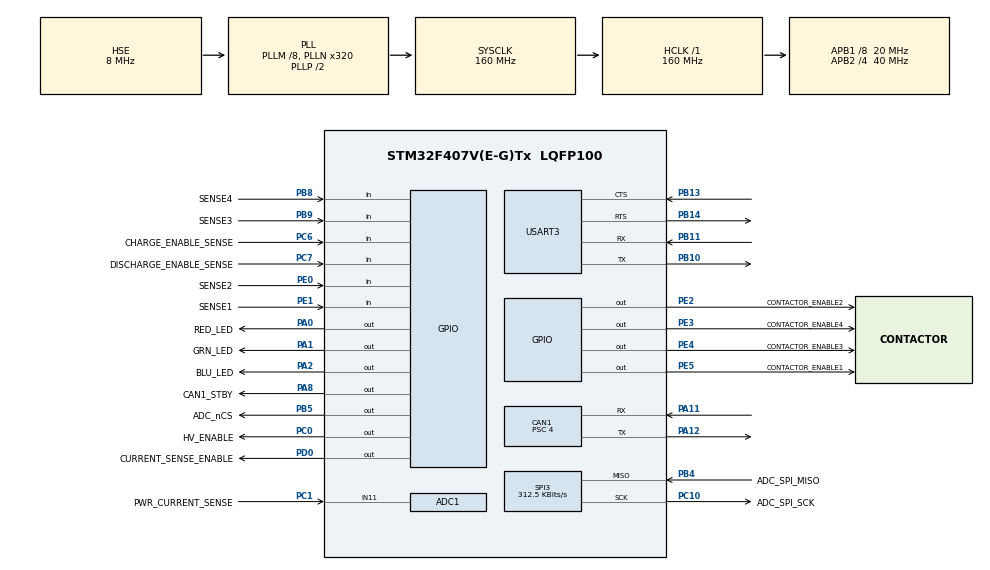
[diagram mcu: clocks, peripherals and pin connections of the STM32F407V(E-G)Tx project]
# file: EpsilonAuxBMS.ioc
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ADC1.Channel-1\#ChannelRegularConversion=ADC_CHANNEL_11
ADC1.ContinuousConvMode=ENABLE
ADC1.EOCSelection=ADC_EOC_SEQ_CONV
ADC1.NbrOfConversionFlag=1
ADC1.Rank-1\#ChannelRegularConversion=1
ADC1.SamplingTime-1\#ChannelRegularConversion=ADC_SAMPLETIME_3CYCLES
ADC1.master=1
CAN1.BS1=CAN_BS1_5TQ
CAN1.BS2=CAN_BS2_4TQ
CAN1.CalculateTimeQuantum=200.0
CAN1.Prescaler=4
FREERTOS.INCLUDE_eTaskGetState=0
FREERTOS.INCLUDE_uxTaskGetStackHighWaterMark=0
FREERTOS.INCLUDE_xQueueGetMutexHolder=0
FREERTOS.Tasks01=defaultTask,24,128,StartDefaultTask,Default,NULL,Dynamic,NULL,NULL
Mcu.Family=STM32F4
Mcu.Name=STM32F407V(E-G)Tx
Mcu.Package=LQFP100
Mcu.UserConstants=CAN_FLAG_FMP0,0x12000003
NVIC.CAN1_RX0_IRQn=true\:5\:0\:false\:false\:true\:true\:true\:true
NVIC.CAN1_TX_IRQn=true\:5\:0\:false\:false\:true\:true\:true\:true
NVIC.PriorityGroup=NVIC_PRIORITYGROUP_4
NVIC.TIM2_IRQn=true\:0\:0\:false\:false\:true\:false\:false\:true
NVIC.TimeBase=TIM2_IRQn
NVIC.TimeBaseIP=TIM2
PA0-WKUP.GPIO_Label=RED_LED
PA0-WKUP.PinState=GPIO_PIN_SET
PA0-WKUP.Signal=GPIO_Output
PA1.GPIO_Label=GRN_LED
PA1.PinState=GPIO_PIN_SET
PA1.Signal=GPIO_Output
PA11.GPIO_PuPd=GPIO_NOPULL
PA11.Mode=Master
PA11.Signal=CAN1_RX
PA12.Mode=Master
PA12.Signal=CAN1_TX
PA13.GPIO_Label=SWDIO
PA13.Signal=SYS_JTMS-SWDIO
PA14.GPIO_Label=SWCLK
PA14.Signal=SYS_JTCK-SWCLK
PA15.Signal=SYS_JTDI
PA2.GPIO_Label=BLU_LED
PA2.PinState=GPIO_PIN_SET
PA2.Signal=GPIO_Output
PA8.GPIO_Label=CAN1_STBY
PA8.PinState=GPIO_PIN_SET
PA8.Signal=GPIO_Output
PB10.Mode=Asynchronous
PB10.Signal=USART3_TX
PB11.Mode=Asynchronous
PB11.Signal=USART3_RX
PB13.Mode=CTS_RTS
PB13.Signal=USART3_CTS
PB14.Mode=CTS_RTS
PB14.Signal=USART3_RTS
PB3.GPIO_Label=SWO
PB3.Signal=SYS_JTDO-SWO
PB4.GPIO_Label=ADC_SPI_MISO
PB4.Mode=RX_Only_Simplex_Unidirect_Master
PB4.Signal=SPI3_MISO
PB5.GPIO_Label=ADC_nCS
PB5.PinState=GPIO_PIN_SET
PB5.Signal=GPIO_Output
PB8.GPIO_Label=SENSE4
PB8.Signal=GPIO_Input
PB9.GPIO_Label=SENSE3
PB9.Signal=GPIO_Input
PC0.GPIO_Label=HV_ENABLE
PC0.Signal=GPIO_Output
PC1.GPIO_Label=PWR_CURRENT_SENSE
PC1.Signal=ADCx_IN11
PC10.GPIO_Label=ADC_SPI_SCK
PC10.Mode=RX_Only_Simplex_Unidirect_Master
PC10.Signal=SPI3_SCK
PC6.GPIO_Label=CHARGE_ENABLE_SENSE
PC6.Signal=GPIO_Input
PC7.GPIO_Label=DISCHARGE_ENABLE_SENSE
PC7.Signal=GPIO_Input
PD0.GPIO_Label=CURRENT_SENSE_ENABLE
PD0.Signal=GPIO_Output
PE0.GPIO_Label=SENSE2
PE0.Signal=GPIO_Input
PE1.GPIO_Label=SENSE1
PE1.Signal=GPIO_Input
PE2.GPIO_Label=CONTACTOR_ENABLE2
PE2.Signal=GPIO_Output
PE3.GPIO_Label=CONTACTOR_ENABLE4
PE3.Signal=GPIO_Output
PE4.GPIO_Label=CONTACTOR_ENABLE3
PE4.Signal=GPIO_Output
PE5.GPIO_Label=CONTACTOR_ENABLE1
PE5.Signal=GPIO_Output
PH0-OSC_IN.GPIO_Label=PH0-OSC_IN
PH0-OSC_IN.Mode=HSE-External-Oscillator
PH0-OSC_IN.Signal=RCC_OSC_IN
PH1-OSC_OUT.GPIO_Label=PH1-OSC_OUT
PH1-OSC_OUT.Mode=HSE-External-Oscillator
PH1-OSC_OUT.Signal=RCC_OSC_OUT
ProjectManager.HeapSize=0x200
ProjectManager.StackSize=0x400
ProjectManager.TargetToolchain=Makefile
RCC.48MHZClocksFreq_Value=45714285.71428572
RCC.AHBFreq_Value=160000000
RCC.APB1CLKDivider=RCC_HCLK_DIV8
RCC.APB1Freq_Value=20000000
RCC.APB1TimFreq_Value=40000000
RCC.APB2CLKDivider=RCC_HCLK_DIV4
RCC.APB2Freq_Value=40000000
RCC.APB2TimFreq_Value=80000000
RCC.CortexFreq_Value=160000000
RCC.HCLKFreq_Value=160000000
RCC.HSE_VALUE=8000000
RCC.HSI_VALUE=16000000
RCC.LSE_VALUE=32768
RCC.PLLM=8
RCC.PLLN=320
RCC.PLLQ=7
RCC.PLLSourceVirtual=RCC_PLLSOURCE_HSE
RCC.SYSCLKFreq_VALUE=160000000
RCC.SYSCLKSource=RCC_SYSCLKSOURCE_PLLCLK
RCC.VCOOutputFreq_Value=320000000
SH.ADCx_IN11.0=ADC1_IN11,IN11
SPI3.BaudRatePrescaler=SPI_BAUDRATEPRESCALER_64
SPI3.CLKPolarity=SPI_POLARITY_HIGH
SPI3.CalculateBaudRate=312.5 KBits/s
SPI3.DataSize=SPI_DATASIZE_16BIT
SPI3.Direction=SPI_DIRECTION_2LINES_RXONLY
SPI3.Mode=SPI_MODE_MASTER
SPI3.VirtualType=VM_MASTER
USART3.VirtualMode=VM_ASYNC
VP_FREERTOS_VS_CMSIS_V2.Mode=CMSIS_V2
VP_SYS_VS_tim2.Mode=TIM2
board=STM32F407G-DISC1

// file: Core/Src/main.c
/* USER CODE BEGIN Header */
/**
  ******************************************************************************
  * @file           : main.c
  * @brief          : Main program body
  ******************************************************************************
  * @attention
  *
  * <h2><center>&copy; Copyright (c) 2019 STMicroelectronics.
  * All rights reserved.</center></h2>
  *
  * This software component is licensed by ST under Ultimate Liberty license
  * SLA0044, the "License"; You may not use this file except in compliance with
  * the License. You may obtain a copy of the License at:
  *                             www.st.com/SLA0044
  *
  ******************************************************************************
  */
/* USER CODE END Header */

#include "main.h"
#include "cmsis_os.h"

/* USER CODE BEGIN Includes */
#include "UpdateChargeAllowanceTask.h"
#include "SetContactorsTask.h"
#include "ReadAuxVoltageTask.h"
#include "ReportAuxStatusToCanTask.h"
#include "ReportHeartbeatToCanTask.h"
/* USER CODE END Includes */

ADC_HandleTypeDef hadc1;

CAN_HandleTypeDef hcan1;

SPI_HandleTypeDef hspi3;

UART_HandleTypeDef huart3;

osThreadId_t defaultTaskHandle;
/* USER CODE BEGIN PV */
CAN_TxHeaderTypeDef canTxHeader; // Header for transmitted CAN messages

OrionStatus orionStatus;
AuxStatus auxStatus;

osThreadId_t updateChargeAllowanceTaskHandle;
osThreadId_t setContactorsTaskHandle;
osThreadId_t readAuxVoltageTaskHandle;
osThreadId_t reportAuxStatusToCanTaskHandle;
osThreadId_t reportHeartbeatToCanTaskHandle;
/* USER CODE END PV */

void SystemClock_Config(void);
static void MX_GPIO_Init(void);
static void MX_ADC1_Init(void);
static void MX_CAN1_Init(void);
static void MX_SPI3_Init(void);
static void MX_USART3_UART_Init(void);
void StartDefaultTask(void* argument);

/* USER CODE BEGIN PFP */
static void MX_CAN1_UserInit(void);
/* USER CODE END PFP */

/* USER CODE BEGIN 0 */
static const uint32_t ORION_MAX_MIN_VOLTAGES_STDID  = 0x305;
static const uint32_t ORION_TEMP_INFO_STDID = 0x304;
static const uint32_t ORION_PACK_INFO_STDID = 0x302;
/* USER CODE END 0 */

int main(void)
{

    /* MCU Configuration--------------------------------------------------------*/

    /* Reset of all peripherals, Initializes the Flash interface and the Systick. */
    HAL_Init();

    /* Configure the system clock */
    SystemClock_Config();

    /* Initialize all configured peripherals */
    MX_GPIO_Init();
    MX_ADC1_Init();
    MX_CAN1_Init();
    MX_SPI3_Init();
    MX_USART3_UART_Init();
    /* USER CODE BEGIN 2 */
    MX_CAN1_UserInit();
    HAL_ADC_Start(&hadc1);

    // Start with not allowing charge
    auxStatus.allowCharge = 0;

    // Start with orionBatteryVoltagesOk set to 1 to allow contactor setting
    orionStatus.batteryVoltagesInRange = 1;

    // Start with canMsgReceived set to 0 to prevent minCellVoltage causing
    // contactor setting problems
    orionStatus.canMsgReceived = 0;

    // Activate CAN Receive Interrupts
    if (HAL_CAN_ActivateNotification(&hcan1, CAN_IT_RX_FIFO0_MSG_PENDING |
                                     CAN_IT_ERROR_WARNING        |
                                     CAN_IT_ERROR_PASSIVE        |
                                     CAN_IT_BUSOFF               |
                                     CAN_IT_LAST_ERROR_CODE      |
                                     CAN_IT_ERROR) != HAL_OK)
    {
        /* Reception Error */
        Error_Handler();
    }

    /* USER CODE END 2 */

    osKernelInitialize();

    /* USER CODE BEGIN RTOS_MUTEX */
    // For concurrency between sendHeartbeat() and reportAuxToCan()
    osMutexId_t canHandleMutex;
    const osMutexAttr_t canMutexAttr =
    {
        "canMutex", // name of mutex
        0, // TODO perhaps osMutexRecursive
        NULL,
        0
    };
    canHandleMutex = osMutexNew(&canMutexAttr);

    if (canHandleMutex == NULL)
    {
        Error_Handler();
    }

    // For concurrency between updateChargeAllowanceTask() and setContactorsTask()
    const osMutexAttr_t auxStatusMutexAttr =
    {
        "auxStatusMutex", // name of mutex
        0, // TODO perhaps osMutexRecursive
        NULL,
        0
    };
    auxStatus.auxStatusMutex = osMutexNew(&auxStatusMutexAttr);

    if (auxStatus.auxStatusMutex == NULL)
    {
        Error_Handler();
    }

    // For concurrency between updateChargeAllowanceTask() and setContactorsTask()
    const osMutexAttr_t orionStatusMutexAttr =
    {
        "orionStatusMutex", // name of mutex
        0, // TODO perhaps osMutexRecursive
        NULL,
        0
    };
    orionStatus.orionStatusMutex = osMutexNew(&orionStatusMutexAttr);

    if (orionStatus.orionStatusMutex == NULL)
    {
        Error_Handler();
    }

    /* USER CODE END RTOS_MUTEX */

    /* Create the thread(s) */
    /* definition and creation of defaultTask */
    const osThreadAttr_t defaultTask_attributes =
    {
        .name = "defaultTask",
        .priority = (osPriority_t) osPriorityNormal,
        .stack_size = 128
    };
    defaultTaskHandle = osThreadNew(StartDefaultTask, NULL, &defaultTask_attributes);

    /* USER CODE BEGIN RTOS_THREADS */
    // definition of task attributes
    const osThreadAttr_t updateChargeAllowanceTask_attributes =
    {
        .name = "updateChargeAllowanceTask",
        .priority = (osPriority_t) osPriorityNormal,
        .stack_size = 128
    };
    const osThreadAttr_t setContactorsTask_attributes =
    {
        .name = "setContactorsTask",
        .priority = (osPriority_t) osPriorityNormal,
        .stack_size = 128
    };
    const osThreadAttr_t readAuxVoltageTask_attributes =
    {
        .name = "readAuxVoltageTask",
        .priority = (osPriority_t) osPriorityNormal,
        .stack_size = 128
    };
    const osThreadAttr_t reportAuxStatusToCanTask_attributes =
    {
        .name = "reportAuxStatusToCanTask",
        .priority = (osPriority_t) osPriorityNormal,
        .stack_size = 128
    };
    const osThreadAttr_t reportHeartbeatToCanTask_attributes =
    {
        .name = "reportHeartbeatToCanTask",
        .priority = (osPriority_t) osPriorityNormal,
        .stack_size = 128
    };

    // creation of threads
    updateChargeAllowanceTaskHandle = osThreadNew((osThreadFunc_t)updateChargeAllowanceTask, NULL, &updateChargeAllowanceTask_attributes);
    setContactorsTaskHandle         = osThreadNew((osThreadFunc_t)setContactorsTask, NULL, &setContactorsTask_attributes);
    readAuxVoltageTaskHandle        = osThreadNew((osThreadFunc_t)readAuxVoltageTask, NULL, &readAuxVoltageTask_attributes);
    reportAuxStatusToCanTaskHandle  = osThreadNew((osThreadFunc_t)reportAuxStatusToCanTask, &canHandleMutex, &reportAuxStatusToCanTask_attributes);
    reportHeartbeatToCanTaskHandle  = osThreadNew((osThreadFunc_t)reportHeartbeatToCanTask, &canHandleMutex, &reportHeartbeatToCanTask_attributes);
    /* USER CODE END RTOS_THREADS */

    /* Start scheduler */
    osKernelStart();

    /* We should never get here as control is now taken by the scheduler */

    /* Infinite loop */
    while (1)
    {

    }
}

void SystemClock_Config(void)
{
    RCC_OscInitTypeDef RCC_OscInitStruct = {0};
    RCC_ClkInitTypeDef RCC_ClkInitStruct = {0};

    /** Configure the main internal regulator output voltage
    */
    __HAL_RCC_PWR_CLK_ENABLE();
    __HAL_PWR_VOLTAGESCALING_CONFIG(PWR_REGULATOR_VOLTAGE_SCALE1);
    /** Initializes the CPU, AHB and APB busses clocks
    */
    RCC_OscInitStruct.OscillatorType = RCC_OSCILLATORTYPE_HSE;
    RCC_OscInitStruct.HSEState = RCC_HSE_ON;
    RCC_OscInitStruct.PLL.PLLState = RCC_PLL_ON;
    RCC_OscInitStruct.PLL.PLLSource = RCC_PLLSOURCE_HSE;
    RCC_OscInitStruct.PLL.PLLM = 8;
    RCC_OscInitStruct.PLL.PLLN = 320;
    RCC_OscInitStruct.PLL.PLLP = RCC_PLLP_DIV2;
    RCC_OscInitStruct.PLL.PLLQ = 7;

    if (HAL_RCC_OscConfig(&RCC_OscInitStruct) != HAL_OK)
    {
        Error_Handler();
    }

    /** Initializes the CPU, AHB and APB busses clocks
    */
    RCC_ClkInitStruct.ClockType = RCC_CLOCKTYPE_HCLK | RCC_CLOCKTYPE_SYSCLK
                                  | RCC_CLOCKTYPE_PCLK1 | RCC_CLOCKTYPE_PCLK2;
    RCC_ClkInitStruct.SYSCLKSource = RCC_SYSCLKSOURCE_PLLCLK;
    RCC_ClkInitStruct.AHBCLKDivider = RCC_SYSCLK_DIV1;
    RCC_ClkInitStruct.APB1CLKDivider = RCC_HCLK_DIV8;
    RCC_ClkInitStruct.APB2CLKDivider = RCC_HCLK_DIV4;

    if (HAL_RCC_ClockConfig(&RCC_ClkInitStruct, FLASH_LATENCY_5) != HAL_OK)
    {
        Error_Handler();
    }
}

static void MX_ADC1_Init(void)
{

    ADC_ChannelConfTypeDef sConfig = {0};

    /** Configure the global features of the ADC (Clock, Resolution, Data Alignment and number of conversion)
    */
    hadc1.Instance = ADC1;
    hadc1.Init.ClockPrescaler = ADC_CLOCK_SYNC_PCLK_DIV2;
    hadc1.Init.Resolution = ADC_RESOLUTION_12B;
    hadc1.Init.ScanConvMode = DISABLE;
    hadc1.Init.ContinuousConvMode = ENABLE;
    hadc1.Init.DiscontinuousConvMode = DISABLE;
    hadc1.Init.ExternalTrigConvEdge = ADC_EXTERNALTRIGCONVEDGE_NONE;
    hadc1.Init.ExternalTrigConv = ADC_SOFTWARE_START;
    hadc1.Init.DataAlign = ADC_DATAALIGN_RIGHT;
    hadc1.Init.NbrOfConversion = 1;
    hadc1.Init.DMAContinuousRequests = DISABLE;
    hadc1.Init.EOCSelection = ADC_EOC_SEQ_CONV;

    if (HAL_ADC_Init(&hadc1) != HAL_OK)
    {
        Error_Handler();
    }

    /** Configure for the selected ADC regular channel its corresponding rank in the sequencer and its sample time.
    */
    sConfig.Channel = ADC_CHANNEL_11;
    sConfig.Rank = 1;
    sConfig.SamplingTime = ADC_SAMPLETIME_3CYCLES;

    if (HAL_ADC_ConfigChannel(&hadc1, &sConfig) != HAL_OK)
    {
        Error_Handler();
    }

}

static void MX_CAN1_Init(void)
{

    hcan1.Instance = CAN1;
    hcan1.Init.Prescaler = 4;
    hcan1.Init.Mode = CAN_MODE_NORMAL;
    hcan1.Init.SyncJumpWidth = CAN_SJW_1TQ;
    hcan1.Init.TimeSeg1 = CAN_BS1_5TQ;
    hcan1.Init.TimeSeg2 = CAN_BS2_4TQ;
    hcan1.Init.TimeTriggeredMode = DISABLE;
    hcan1.Init.AutoBusOff = DISABLE;
    hcan1.Init.AutoWakeUp = DISABLE;
    hcan1.Init.AutoRetransmission = DISABLE;
    hcan1.Init.ReceiveFifoLocked = DISABLE;
    hcan1.Init.TransmitFifoPriority = DISABLE;

    if (HAL_CAN_Init(&hcan1) != HAL_OK)
    {
        Error_Handler();
    }

}

static void MX_SPI3_Init(void)
{

    /* SPI3 parameter configuration*/
    hspi3.Instance = SPI3;
    hspi3.Init.Mode = SPI_MODE_MASTER;
    hspi3.Init.Direction = SPI_DIRECTION_2LINES_RXONLY;
    hspi3.Init.DataSize = SPI_DATASIZE_16BIT;
    hspi3.Init.CLKPolarity = SPI_POLARITY_HIGH;
    hspi3.Init.CLKPhase = SPI_PHASE_1EDGE;
    hspi3.Init.NSS = SPI_NSS_SOFT;
    hspi3.Init.BaudRatePrescaler = SPI_BAUDRATEPRESCALER_64;
    hspi3.Init.FirstBit = SPI_FIRSTBIT_MSB;
    hspi3.Init.TIMode = SPI_TIMODE_DISABLE;
    hspi3.Init.CRCCalculation = SPI_CRCCALCULATION_DISABLE;
    hspi3.Init.CRCPolynomial = 10;

    if (HAL_SPI_Init(&hspi3) != HAL_OK)
    {
        Error_Handler();
    }

}

static void MX_USART3_UART_Init(void)
{

    huart3.Instance = USART3;
    huart3.Init.BaudRate = 115200;
    huart3.Init.WordLength = UART_WORDLENGTH_8B;
    huart3.Init.StopBits = UART_STOPBITS_1;
    huart3.Init.Parity = UART_PARITY_NONE;
    huart3.Init.Mode = UART_MODE_TX_RX;
    huart3.Init.HwFlowCtl = UART_HWCONTROL_RTS_CTS;
    huart3.Init.OverSampling = UART_OVERSAMPLING_16;

    if (HAL_UART_Init(&huart3) != HAL_OK)
    {
        Error_Handler();
    }

}

static void MX_GPIO_Init(void)
{
    GPIO_InitTypeDef GPIO_InitStruct = {0};

    /* GPIO Ports Clock Enable */
    __HAL_RCC_GPIOE_CLK_ENABLE();
    __HAL_RCC_GPIOH_CLK_ENABLE();
    __HAL_RCC_GPIOC_CLK_ENABLE();
    __HAL_RCC_GPIOA_CLK_ENABLE();
    __HAL_RCC_GPIOB_CLK_ENABLE();
    __HAL_RCC_GPIOD_CLK_ENABLE();

    /*Configure GPIO pin Output Level */
    HAL_GPIO_WritePin(GPIOE, CONTACTOR_ENABLE2_Pin | CONTACTOR_ENABLE4_Pin | CONTACTOR_ENABLE3_Pin | CONTACTOR_ENABLE1_Pin, GPIO_PIN_RESET);

    /*Configure GPIO pin Output Level */
    HAL_GPIO_WritePin(HV_ENABLE_GPIO_Port, HV_ENABLE_Pin, GPIO_PIN_RESET);

    /*Configure GPIO pin Output Level */
    HAL_GPIO_WritePin(GPIOA, RED_LED_Pin | GRN_LED_Pin | BLU_LED_Pin | CAN1_STBY_Pin, GPIO_PIN_SET);

    /*Configure GPIO pin Output Level */
    HAL_GPIO_WritePin(CURRENT_SENSE_ENABLE_GPIO_Port, CURRENT_SENSE_ENABLE_Pin, GPIO_PIN_RESET);

    /*Configure GPIO pin Output Level */
    HAL_GPIO_WritePin(ADC_nCS_GPIO_Port, ADC_nCS_Pin, GPIO_PIN_SET);

    /*Configure GPIO pins : CONTACTOR_ENABLE2_Pin CONTACTOR_ENABLE4_Pin CONTACTOR_ENABLE3_Pin CONTACTOR_ENABLE1_Pin */
    GPIO_InitStruct.Pin = CONTACTOR_ENABLE2_Pin | CONTACTOR_ENABLE4_Pin | CONTACTOR_ENABLE3_Pin | CONTACTOR_ENABLE1_Pin;
    GPIO_InitStruct.Mode = GPIO_MODE_OUTPUT_PP;
    GPIO_InitStruct.Pull = GPIO_NOPULL;
    GPIO_InitStruct.Speed = GPIO_SPEED_FREQ_LOW;
    HAL_GPIO_Init(GPIOE, &GPIO_InitStruct);

    /*Configure GPIO pin : HV_ENABLE_Pin */
    GPIO_InitStruct.Pin = HV_ENABLE_Pin;
    GPIO_InitStruct.Mode = GPIO_MODE_OUTPUT_PP;
    GPIO_InitStruct.Pull = GPIO_NOPULL;
    GPIO_InitStruct.Speed = GPIO_SPEED_FREQ_LOW;
    HAL_GPIO_Init(HV_ENABLE_GPIO_Port, &GPIO_InitStruct);

    /*Configure GPIO pins : RED_LED_Pin GRN_LED_Pin BLU_LED_Pin CAN1_STBY_Pin */
    GPIO_InitStruct.Pin = RED_LED_Pin | GRN_LED_Pin | BLU_LED_Pin | CAN1_STBY_Pin;
    GPIO_InitStruct.Mode = GPIO_MODE_OUTPUT_PP;
    GPIO_InitStruct.Pull = GPIO_NOPULL;
    GPIO_InitStruct.Speed = GPIO_SPEED_FREQ_LOW;
    HAL_GPIO_Init(GPIOA, &GPIO_InitStruct);

    /*Configure GPIO pins : CHARGE_ENABLE_SENSE_Pin DISCHARGE_ENABLE_SENSE_Pin */
    GPIO_InitStruct.Pin = CHARGE_ENABLE_SENSE_Pin | DISCHARGE_ENABLE_SENSE_Pin;
    GPIO_InitStruct.Mode = GPIO_MODE_INPUT;
    GPIO_InitStruct.Pull = GPIO_NOPULL;
    HAL_GPIO_Init(GPIOC, &GPIO_InitStruct);

    /*Configure GPIO pin : CURRENT_SENSE_ENABLE_Pin */
    GPIO_InitStruct.Pin = CURRENT_SENSE_ENABLE_Pin;
    GPIO_InitStruct.Mode = GPIO_MODE_OUTPUT_PP;
    GPIO_InitStruct.Pull = GPIO_NOPULL;
    GPIO_InitStruct.Speed = GPIO_SPEED_FREQ_LOW;
    HAL_GPIO_Init(CURRENT_SENSE_ENABLE_GPIO_Port, &GPIO_InitStruct);

    /*Configure GPIO pin : ADC_nCS_Pin */
    GPIO_InitStruct.Pin = ADC_nCS_Pin;
    GPIO_InitStruct.Mode = GPIO_MODE_OUTPUT_PP;
    GPIO_InitStruct.Pull = GPIO_NOPULL;
    GPIO_InitStruct.Speed = GPIO_SPEED_FREQ_LOW;
    HAL_GPIO_Init(ADC_nCS_GPIO_Port, &GPIO_InitStruct);

    /*Configure GPIO pins : SENSE4_Pin SENSE3_Pin */
    GPIO_InitStruct.Pin = SENSE4_Pin | SENSE3_Pin;
    GPIO_InitStruct.Mode = GPIO_MODE_INPUT;
    GPIO_InitStruct.Pull = GPIO_NOPULL;
    HAL_GPIO_Init(GPIOB, &GPIO_InitStruct);

    /*Configure GPIO pins : SENSE2_Pin SENSE1_Pin */
    GPIO_InitStruct.Pin = SENSE2_Pin | SENSE1_Pin;
    GPIO_InitStruct.Mode = GPIO_MODE_INPUT;
    GPIO_InitStruct.Pull = GPIO_NOPULL;
    HAL_GPIO_Init(GPIOE, &GPIO_InitStruct);

}

/* USER CODE BEGIN 4 */
// Reimplement weak definition in stm32f4xx_hal_can.c
// TODO might want to have a task that processes received messages elsewhere
//      just set a bit here, then disable the notification. If bit is set, task
//      gets CAN message and turns on notification again
void HAL_CAN_RxFifo0MsgPendingCallback(CAN_HandleTypeDef* hcan)
{
    CAN_RxHeaderTypeDef hdr;
    uint8_t             data[8] = {0};

    if (HAL_CAN_GetRxMessage(hcan, CAN_RX_FIFO0, &hdr, data) != HAL_OK)
    {
        return;
    }

    if (hdr.StdId == ORION_MAX_MIN_VOLTAGES_STDID && hdr.DLC == 8)
    {
        // Voltages are 2 bytes each, and memory is stored in little endian format
        // TODO check that this works
        /*
        orionStatus.minCellVoltage = (uint16_t)data[0] | data[1] << 8; // Min Cell voltage
        orionStatus.maxCellVoltage = (uint16_t)data[3] | data[4] << 8; // Max Cell Voltage
        */
        orionStatus.minCellVoltage = ((uint16_t)data[1] << 8) | (uint16_t)data[0]; // Min Cell voltage
        orionStatus.maxCellVoltage = ((uint16_t)data[4] << 8) | (uint16_t)data[3]; // Max Cell Voltage

        orionStatus.canMsgReceived = 1;
    }
    else if (hdr.StdId == ORION_TEMP_INFO_STDID && hdr.DLC == 8)
    {
        orionStatus.highTemperature = data[0];
        orionStatus.canMsgReceived = 1;
    }
    else if (hdr.StdId == ORION_PACK_INFO_STDID && hdr.DLC == 8)
    {
        // TODO check that this works
        /*
        short packCurrentInt =  // Units 0.1 A
            (data[0] << 0) |
            (data[1] << 8);
        */
        short packCurrentInt =  // Units 0.1 A
            ((short)data[1] << 8) |
            ((short)data[0] << 0);
        orionStatus.packCurrent = (float)packCurrentInt / 10.0f;
        orionStatus.canMsgReceived = 1;
    }

    // __HAL_CAN_CLEAR_FLAG(hcan, CAN_FLAG_FMP0); TODO Might not need

    // Toggle green LED for every CAN message received
    HAL_GPIO_TogglePin(GRN_LED_GPIO_Port, GRN_LED_Pin);
}

static void MX_CAN1_UserInit(void)
{
    HAL_GPIO_WritePin(CAN1_STBY_GPIO_Port, CAN1_STBY_Pin, GPIO_PIN_RESET);

    CAN_FilterTypeDef orionVoltageTempFilterConfig;
    orionVoltageTempFilterConfig.FilterBank = 0; // Use first filter bank
    orionVoltageTempFilterConfig.FilterMode = CAN_FILTERMODE_IDLIST; // Look for specific can messages
    orionVoltageTempFilterConfig.FilterScale = CAN_FILTERSCALE_32BIT;
    orionVoltageTempFilterConfig.FilterIdHigh = ORION_MAX_MIN_VOLTAGES_STDID << 5; // Filter registers need to be shifted left 5 bits
    orionVoltageTempFilterConfig.FilterIdLow = 0;
    orionVoltageTempFilterConfig.FilterMaskIdHigh = ORION_TEMP_INFO_STDID << 5;
    orionVoltageTempFilterConfig.FilterMaskIdLow = 0; // Unused
    orionVoltageTempFilterConfig.FilterFIFOAssignment = 0;
    orionVoltageTempFilterConfig.FilterActivation = ENABLE;
    orionVoltageTempFilterConfig.SlaveStartFilterBank = 0; // Set all filter banks for CAN1

    if (HAL_CAN_ConfigFilter(&hcan1, &orionVoltageTempFilterConfig) != HAL_OK)
    {
        /* Filter configuration Error */
        Error_Handler();
    }

    CAN_FilterTypeDef orionPackInfoFilterConfig;
    orionPackInfoFilterConfig.FilterBank = 1; // Use secondary filter bank
    orionPackInfoFilterConfig.FilterScale = CAN_FILTERSCALE_32BIT;
    orionPackInfoFilterConfig.FilterMode = CAN_FILTERMODE_IDLIST; // Look for specific can messages
    orionPackInfoFilterConfig.FilterIdHigh = ORION_PACK_INFO_STDID << 5; // Filter registers need to be shifted left 5 bits
    orionPackInfoFilterConfig.FilterIdLow = 0; // Filter registers need to be shifted left 5 bits
    orionPackInfoFilterConfig.FilterMaskIdHigh = 0;
    orionPackInfoFilterConfig.FilterMaskIdLow = 0; //unused
    orionPackInfoFilterConfig.FilterFIFOAssignment = 0;
    orionPackInfoFilterConfig.FilterActivation = ENABLE;
    orionPackInfoFilterConfig.SlaveStartFilterBank = 0; // Set all filter banks for CAN2

    if (HAL_CAN_ConfigFilter(&hcan1, &orionPackInfoFilterConfig) != HAL_OK)
    {
        /* Filter configuration Error */
        Error_Handler();
    }

    /* Configure Transmission process */
    canTxHeader.ExtId = 0x0; // Only used if (hcan2.pTxMsg->IDE == CAN_ID_EXT)
    canTxHeader.RTR = CAN_RTR_DATA; // Data request, not remote request
    canTxHeader.IDE = CAN_ID_STD; // Standard CAN, not Extended
    canTxHeader.DLC = 2; // Data size in bytes
    canTxHeader.TransmitGlobalTime = DISABLE; // Disable transmission timestamp capture
}
/* USER CODE END 4 */

void StartDefaultTask(void* argument)
{

    for (;;)
    {
        osDelay(1);
    }
}

void HAL_TIM_PeriodElapsedCallback(TIM_HandleTypeDef* htim)
{
    if (htim->Instance == TIM2)
    {
        HAL_IncTick();
    }

}

void Error_Handler(void)
{
    /* USER CODE BEGIN Error_Handler_Debug */
    /* User can add his own implementation to report the HAL error return state */
    // Would turn on an error LED and go into an infinite loop
    while (1)
    {

    }

    /* USER CODE END Error_Handler_Debug */
}

/************************ (C) COPYRIGHT STMicroelectronics *****END OF FILE****/
